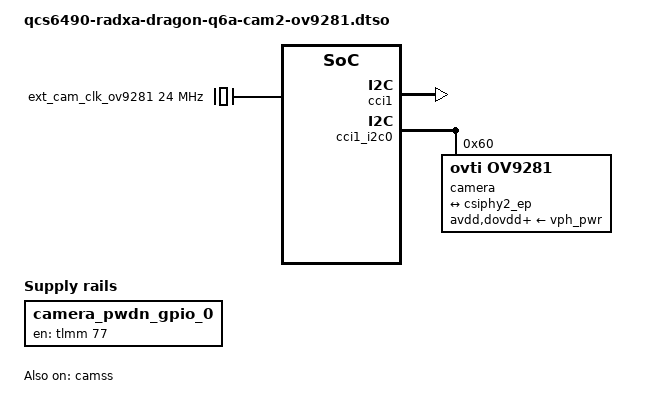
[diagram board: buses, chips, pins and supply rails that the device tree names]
// SPDX-License-Identifier: BSD-3-Clause
/*
 * Enable a Waveshare OV9281 (mono global-shutter) camera on CAM2.
 *
 * Adapted from Radxa's qcs6490-radxa-dragon-q6a-cam2-radxa-camera-8m-219.dtso.
 * Differences vs. the IMX219 reference:
 *   - sensor compatible "ovti,ov9281" (handled by the ov9282 driver)
 *   - link-frequencies = 400 MHz (the only rate the ov9282 driver advertises)
 *   - avdd/dovdd/dvdd supplies wired up (ov9282 requires them, unlike imx219)
 *   - 2 MIPI data lanes (same as the 8M-219), Y10/Y8 mono output
 *
 * CAM2 routing: cci1 / cci1_i2c0, CSIPHY port@2, power-enable on gpio77.
 */

/dts-v1/;
/plugin/;

#include <dt-bindings/gpio/gpio.h>

/ {
	metadata {
		title = "Enable Waveshare OV9281 camera on CAM2";
		compatible = "radxa,dragon-q6a";
		category = "camera";
		exclusive = "cci1_i2c0";
		description = "Enable Waveshare OV9281 mono global-shutter camera on CAM2.";
	};
};

&{/} {
	ext_cam_clk_ov9281: ext-cam-clk-ov9281 {
		status = "okay";
		compatible = "fixed-clock";
		clock-frequency = <24000000>;
		clock-output-names = "ext_cam_clk_ov9281";
		#clock-cells = <0>;
	};

	/*
	 * Drives the CAM2 power-enable line (gpio77) high, exactly as the
	 * 8M-219 overlay does. This releases the sensor reset/XSHUTDN, so the
	 * ov9282 driver's own (optional) "reset" gpio is intentionally omitted
	 * to avoid two consumers contending for the same pin.
	 */
	camera_pwdn_gpio_0: camera-pwdn-gpio-0 {
		status = "okay";
		compatible = "regulator-fixed";
		regulator-name = "camera_pwdn_gpio_0";
		regulator-always-on;
		enable-active-high;
		gpios = <&tlmm 77 GPIO_ACTIVE_HIGH>;
		pinctrl-names = "default";
		pinctrl-0 = <&cam_pwdn_gpio_0>;
	};
};

&{/reserved-memory} {
	linux,cma {
		compatible = "shared-dma-pool";
		size = <0x0 0x8000000>;
		reusable;
		linux,cma-default;
	};
};

&camss {
	vdda-phy-supply = <&vreg_l10c_0p88>;
	vdda-pll-supply = <&vreg_l6b_1p2>;

	status = "okay";

	ports {
		#address-cells = <1>;
		#size-cells = <0>;

		/* The port index denotes CSIPHY id i.e. csiphy2 */
		port@2 {
			reg = <2>;

			csiphy2_ep: endpoint {
				clock-lanes = <7>;
				data-lanes = <0 1>;
				remote-endpoint = <&ov9281_0_ep>;
			};
		};
	};
};

&cci1 {
	status = "okay";
};

&cci1_i2c0 {
	#address-cells = <1>;
	#size-cells = <0>;
	status = "okay";

	camera@60 {
		compatible = "ovti,ov9281";
		reg = <0x60>;

		clocks = <&ext_cam_clk_ov9281>;

		/* ov9282 requires these regulator supplies. The CAM connector is
		 * fed from the board VPH rail; the per-rail LDOs on the camera
		 * module are enabled by camera_pwdn_gpio_0 above. */
		avdd-supply = <&vph_pwr>;
		dovdd-supply = <&vph_pwr>;
		dvdd-supply = <&vph_pwr>;

		port {
			ov9281_0_ep: endpoint {
				link-frequencies = /bits/ 64 <400000000>;
				data-lanes = <1 2>;
				remote-endpoint = <&csiphy2_ep>;
			};
		};
	};
};

&tlmm {
	cam_pwdn_gpio_0: cam-pwdn-gpio-0-state {
		pins = "gpio77";
		function = "gpio";
		drive-strength = <2>;
		bias-pull-up;
	};
};
